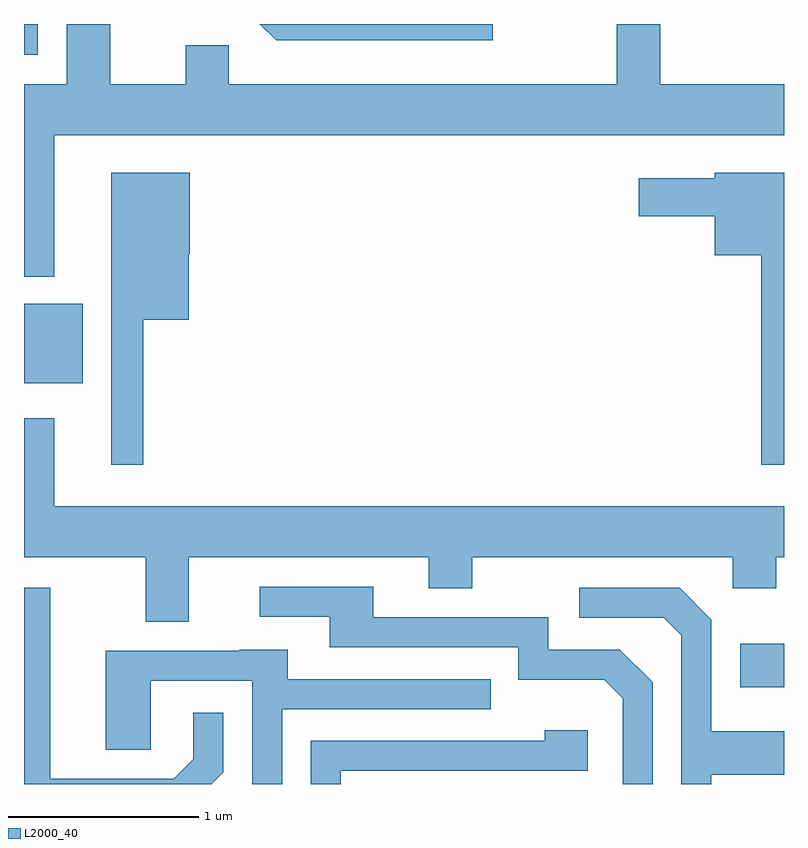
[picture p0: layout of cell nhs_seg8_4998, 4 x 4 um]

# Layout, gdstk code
import gdstk
lib = gdstk.Library(unit=1e-6, precision=1e-09)
def R(c, l, rs):  # rectangles x0, y0, x1, y1
    for r in rs: c.add(gdstk.rectangle(r[:2], r[2:], *l))
def P(c, l, *ps):  # polygons
    for p in ps: c.add(gdstk.Polygon(p, *l))
L2000_40 = (2000, 40)

nhs_seg8_4998 = lib.new_cell('nhs_seg8_4998')
R(nhs_seg8_4998, L2000_40, [(339.381,1826.851,339.611,1827.079), (335.611,1828.451,335.919,1828.869), (335.611,1830.181,335.684,1830.342)])
P(nhs_seg8_4998, L2000_40, [(335.769,1829.756),(339.611,1829.756),(339.611,1830.024),(338.959,1830.024),(338.959,1830.342),(338.731,1830.342),(338.731,1830.024),(336.689,1830.024),(336.689,1830.229),(336.461,1830.229),(336.461,1830.024),(336.064,1830.024),(336.064,1830.342),(335.836,1830.342),(335.836,1830.024),(335.611,1830.024),(335.611,1829.013),(335.769,1829.013)],
  [(338.078,1830.342),(336.853,1830.342),(336.939,1830.256),(338.078,1830.256)],
  [(336.239,1828.786),(336.479,1828.786),(336.479,1829.13),(336.484,1829.13),(336.484,1829.559),(336.071,1829.559),(336.071,1828.023),(336.239,1828.023)],
  [(339.611,1829.559),(339.246,1829.559),(339.246,1829.529),(338.846,1829.529),(338.846,1829.331),(339.246,1829.331),(339.246,1829.126),(339.491,1829.126),(339.491,1828.023),(339.611,1828.023)],
  [(336.479,1827.536),(337.741,1827.536),(337.741,1827.371),(337.969,1827.371),(337.969,1827.536),(339.341,1827.536),(339.341,1827.371),(339.569,1827.371),(339.569,1827.536),(339.611,1827.536),(339.611,1827.804),(335.769,1827.804),(335.769,1828.268),(335.611,1828.268),(335.611,1827.536),(336.251,1827.536),(336.251,1827.196),(336.479,1827.196)],
  [(338.919,1826.877),(338.747,1827.049),(338.369,1827.049),(338.369,1827.219),(337.449,1827.219),(337.449,1827.379),(336.853,1827.379),(336.853,1827.221),(337.221,1827.221),(337.221,1827.061),(338.211,1827.061),(338.211,1826.891),(338.664,1826.891),(338.761,1826.794),(338.761,1826.342),(338.919,1826.342)],
  [(336.659,1826.404),(336.659,1826.718),(336.501,1826.718),(336.501,1826.472),(336.399,1826.369),(335.749,1826.369),(335.749,1827.374),(335.611,1827.374),(335.611,1826.342),(336.597,1826.342)],
  [(339.229,1826.391),(339.611,1826.391),(339.611,1826.619),(339.229,1826.619),(339.229,1827.207),(339.062,1827.374),(338.533,1827.374),(338.533,1827.216),(338.979,1827.216),(339.071,1827.124),(339.071,1826.342),(339.229,1826.342)],
  [(336.969,1826.736),(338.068,1826.736),(338.068,1826.894),(336.999,1826.894),(336.999,1827.049),(336.745,1827.049),(336.745,1827.044),(336.041,1827.044),(336.041,1826.521),(336.279,1826.521),(336.279,1826.886),(336.811,1826.886),(336.811,1826.342),(336.969,1826.342)],
  [(337.279,1826.411),(338.579,1826.411),(338.579,1826.624),(338.351,1826.624),(338.351,1826.569),(337.121,1826.569),(337.121,1826.342),(337.279,1826.342)])

lib.write_gds('nhs_seg8_4998.gds')
